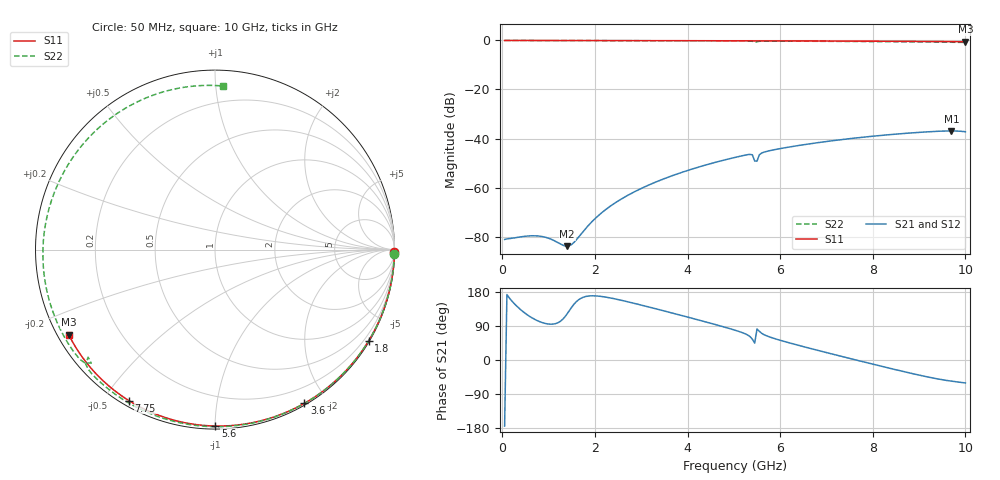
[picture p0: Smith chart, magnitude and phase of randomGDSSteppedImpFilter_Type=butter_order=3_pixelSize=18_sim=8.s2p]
! freq	dB(S11)	phase(S11)	dB(S12)	phase(S12)
!  dB(S21)	phase(S21)	dB(S22)	phase(S22)
!S-par simulation data
#  GHz  S  DB  R 50
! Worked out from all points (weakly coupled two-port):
!   200 points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, 50 MHz to 10 GHz, reference 50 ohm
!   highest |S21| = -36.92 dB at 9.7 GHz (marker M1); lowest = -83.9 dB at 1.4 GHz (marker M2)
!   lowest |S11| = -0.5 dB at 10 GHz (marker M3), VSWR 34.04, Z = 1.58 - j13.5 ohm
!   |S11| at or under -10 dB: nowhere
!   |S22| runs from -0.8 to 0.0 dB; largest |S21 - S12| = 0
!   S11 on the Smith chart (normalised r, x): 50 MHz: open; 1.8 GHz: 0.03, -3.64; 3.6 GHz: 0.02, -1.74; 5.6 GHz: 0.02, -1.00; 7.75 GHz: 0.02, -0.58; 10 GHz: 0.03, -0.27
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0.05  -0.00 -0.9  -81.18 -174.4  -81.18 -174.4  -0.00 -1.4
0.7  -0.01 -12.1  -79.69 107.2  -79.69 107.2  -0.02 -19.2
1.4  -0.03 -24.0  -83.93 121.7  -83.93 121.7  -0.05 -38.1
1.65  -0.04 -28.2  -80.17 159.2  -80.17 159.2  -0.06 -44.7
1.75  -0.04 -29.9  -77.84 165.7  -77.84 165.7  -0.06 -47.3
1.8  -0.04 -30.7  -76.72 167.5  -76.72 167.5  -0.06 -48.6
2.45  -0.05 -41.4  -66.11 160.8  -66.11 160.8  -0.08 -65.4
3.4  -0.08 -56.7  -57.11 132.5  -57.11 132.5  -0.12 -89.1
3.6  -0.08 -59.9  -55.66 126.2  -55.66 126.2  -0.12 -94.0
5.05  -0.13 -81.9  -47.60 77.7  -47.60 77.7  -0.20 -128.9
5.35  -0.14 -86.2  -46.47 61.7  -46.47 61.7  -0.26 -136.8
5.4  -0.14 -87.0  -46.66 54.9  -46.66 54.9  -0.34 -138.5
5.45  -0.14 -87.7  -49.17 44.5  -49.17 44.5  -0.66 -139.7
5.5  -0.14 -88.4  -49.23 81.8  -49.23 81.8  -0.58 -137.5
5.55  -0.15 -89.1  -46.65 75.8  -46.65 75.8  -0.34 -139.0
5.6  -0.15 -89.8  -45.94 70.6  -45.94 70.6  -0.28 -140.6
6.7  -0.21 -105.3  -42.00 29.0  -42.00 29.0  -0.32 -168.5
7.75  -0.28 -119.7  -39.55 -3.4  -39.55 -3.4  -0.43 163.3
8.35  -0.33 -127.7  -38.45 -21.3  -38.45 -21.3  -0.51 145.5
9.1  -0.40 -137.7  -37.37 -42.5  -37.37 -42.5  -0.62 120.8
9.7  -0.47 -145.8  -36.92 -55.8  -36.92 -55.8  -0.73 98.9
10  -0.51 -149.8  -37.23 -60.6  -37.23 -60.6  -0.79 87.3
